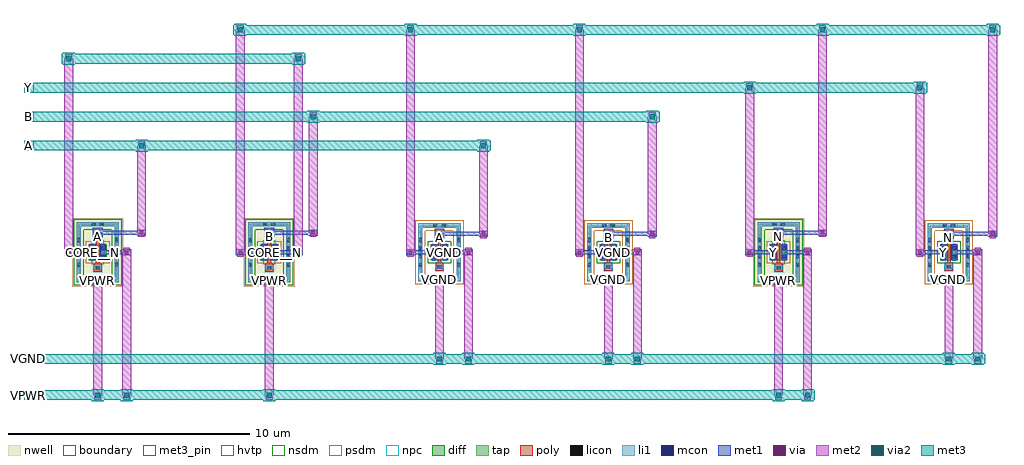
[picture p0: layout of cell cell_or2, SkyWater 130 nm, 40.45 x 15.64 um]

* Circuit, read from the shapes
.subckt cell_or2 A B CORE__N N VGND VPWR Y
XM1 VGND A N VGND sky130_fd_pr__nfet_01v8 w=0.65 l=0.15
XM2 VGND B N VGND sky130_fd_pr__nfet_01v8 w=0.65 l=0.15
XM3 VGND N Y VGND sky130_fd_pr__nfet_01v8 w=0.65 l=0.15
XM4 VPWR A CORE__N VPWR sky130_fd_pr__pfet_01v8_hvt w=0.65 l=0.15
XM5 CORE__N B N VPWR sky130_fd_pr__pfet_01v8_hvt w=0.65 l=0.15
XM6 VPWR N Y VPWR sky130_fd_pr__pfet_01v8_hvt w=0.65 l=0.15
.ends

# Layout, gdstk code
import gdstk
lib = gdstk.Library(unit=1e-6, precision=1e-09)
def R(c, l, rs):  # rectangles x0, y0, x1, y1
    for r in rs: c.add(gdstk.rectangle(r[:2], r[2:], *l))
def A(c, l, x, y, w, h, nx, ny, dx, dy):  # array of equal rectangles
    R(c, l, [(x+i*dx, y+j*dy, x+i*dx+w, y+j*dy+h) for i in range(nx) for j in range(ny)])
nwell = (64, 20)
diff = (65, 20)
tap = (65, 44)
poly = (66, 20)
licon = (66, 44)
li1 = (67, 20)
mcon = (67, 44)
met1 = (68, 20)
via = (68, 44)
met2 = (69, 20)
via2 = (69, 44)
met3_pin = (70, 16)
met3 = (70, 20)
hvtp = (78, 44)
nsdm = (93, 44)
psdm = (94, 20)
npc = (95, 20)
boundary = (235, 4)

cell_or2 = lib.new_cell('cell_or2')
R(cell_or2, nwell, [(0,-1.42,2.11,1.42), (7.11,-1.42,9.22,1.42), (28.22,-1.42,30.33,1.42)])
A(cell_or2, diff, 21.855, -0.325, 0.73, 0.65, 3, 1, 7.055, 0)
R(cell_or2, diff, [(0.69,-0.325,1.42,0.325), (7.8,-0.325,8.53,0.325), (14.855,-0.325,15.585,0.325)])
R(cell_or2, tap, [(0.18,-1.24,1.93,-1.07), (7.29,-1.24,9.04,-1.07), (28.4,-1.24,30.15,-1.07), (14.345,-1.195,16.095,-1.025), (21.345,-1.195,23.095,-1.025), (35.455,-1.195,37.205,-1.025), (0.18,-1.07,0.35,1.07), (1.76,-1.07,1.93,1.07), (7.29,-1.07,7.46,1.07), (8.87,-1.07,9.04,1.07), (28.4,-1.07,28.57,1.07), (29.98,-1.07,30.15,1.07), (14.345,-1.025,14.515,1.025), (15.925,-1.025,16.095,1.025), (21.345,-1.025,21.515,1.025), (22.925,-1.025,23.095,1.025), (35.455,-1.025,35.625,1.025), (37.035,-1.025,37.205,1.025), (14.345,1.025,16.095,1.195), (21.345,1.025,23.095,1.195), (35.455,1.025,37.205,1.195), (0.18,1.07,1.93,1.24), (7.29,1.07,9.04,1.24), (28.4,1.07,30.15,1.24)])
R(cell_or2, poly, [(0.89,-0.81,1.22,-0.48), (8,-0.81,8.33,-0.48), (29.11,-0.81,29.44,-0.48), (15.055,-0.765,15.385,-0.435), (22.055,-0.765,22.385,-0.435), (36.165,-0.765,36.495,-0.435), (0.98,-0.48,1.13,0.48), (8.09,-0.48,8.24,0.48), (29.2,-0.48,29.35,0.48), (15.145,-0.435,15.295,0.435), (22.145,-0.435,22.295,0.435), (36.255,-0.435,36.405,0.435), (15.055,0.435,15.385,0.765), (22.055,0.435,22.385,0.765), (36.165,0.435,36.495,0.765), (0.89,0.48,1.22,0.81), (8,0.48,8.33,0.81), (29.11,0.48,29.44,0.81)])
A(cell_or2, licon, 0.18, -0.595, 0.17, 0.17, 1, 4, 0, 0.34)
A(cell_or2, licon, 1.76, -0.595, 0.17, 0.17, 1, 4, 0, 0.34)
A(cell_or2, licon, 7.29, -0.595, 0.17, 0.17, 1, 4, 0, 0.34)
A(cell_or2, licon, 8.87, -0.595, 0.17, 0.17, 1, 4, 0, 0.34)
A(cell_or2, licon, 14.345, -0.595, 0.17, 0.17, 1, 4, 0, 0.34)
A(cell_or2, licon, 15.925, -0.595, 0.17, 0.17, 1, 4, 0, 0.34)
A(cell_or2, licon, 21.345, -0.595, 0.17, 0.17, 1, 4, 0, 0.34)
A(cell_or2, licon, 22.925, -0.595, 0.17, 0.17, 1, 4, 0, 0.34)
A(cell_or2, licon, 28.4, -0.595, 0.17, 0.17, 1, 4, 0, 0.34)
A(cell_or2, licon, 29.98, -0.595, 0.17, 0.17, 1, 4, 0, 0.34)
A(cell_or2, licon, 35.455, -0.595, 0.17, 0.17, 1, 4, 0, 0.34)
A(cell_or2, licon, 37.035, -0.595, 0.17, 0.17, 1, 4, 0, 0.34)
R(cell_or2, licon, [(0.8,-1.24,0.97,-1.07), (1.14,-1.24,1.31,-1.07), (7.91,-1.24,8.08,-1.07), (8.25,-1.24,8.42,-1.07), (29.02,-1.24,29.19,-1.07), (29.36,-1.24,29.53,-1.07), (14.965,-1.195,15.135,-1.025), (15.305,-1.195,15.475,-1.025), (21.965,-1.195,22.135,-1.025), (22.305,-1.195,22.475,-1.025), (36.075,-1.195,36.245,-1.025), (36.415,-1.195,36.585,-1.025), (0.97,-0.73,1.14,-0.56), (8.08,-0.73,8.25,-0.56), (29.19,-0.73,29.36,-0.56), (15.135,-0.685,15.305,-0.515), (22.135,-0.685,22.305,-0.515), (36.245,-0.685,36.415,-0.515), (0.75,-0.255,0.92,-0.085), (1.19,-0.255,1.36,-0.085), (7.86,-0.255,8.03,-0.085), (8.3,-0.255,8.47,-0.085), (14.915,-0.255,15.085,-0.085), (15.355,-0.255,15.525,-0.085), (21.915,-0.255,22.085,-0.085), (22.355,-0.255,22.525,-0.085), (28.97,-0.255,29.14,-0.085), (29.41,-0.255,29.58,-0.085), (36.025,-0.255,36.195,-0.085), (36.465,-0.255,36.635,-0.085), (0.75,0.085,0.92,0.255), (1.19,0.085,1.36,0.255), (7.86,0.085,8.03,0.255), (8.3,0.085,8.47,0.255), (14.915,0.085,15.085,0.255), (15.355,0.085,15.525,0.255), (21.915,0.085,22.085,0.255), (22.355,0.085,22.525,0.255), (28.97,0.085,29.14,0.255), (29.41,0.085,29.58,0.255), (36.025,0.085,36.195,0.255), (36.465,0.085,36.635,0.255), (15.135,0.515,15.305,0.685), (22.135,0.515,22.305,0.685), (36.245,0.515,36.415,0.685), (0.97,0.56,1.14,0.73), (8.08,0.56,8.25,0.73), (29.19,0.56,29.36,0.73), (14.965,1.025,15.135,1.195), (15.305,1.025,15.475,1.195), (21.965,1.025,22.135,1.195), (22.305,1.025,22.475,1.195), (36.075,1.025,36.245,1.195), (36.415,1.025,36.585,1.195), (0.8,1.07,0.97,1.24), (1.14,1.07,1.31,1.24), (7.91,1.07,8.08,1.24), (8.25,1.07,8.42,1.24), (29.02,1.07,29.19,1.24), (29.36,1.07,29.53,1.24)])
R(cell_or2, li1, [(0.18,-1.24,1.93,-1.07), (7.29,-1.24,9.04,-1.07), (28.4,-1.24,30.15,-1.07), (14.345,-1.195,16.095,-1.025), (21.345,-1.195,23.095,-1.025), (35.455,-1.195,37.205,-1.025), (0.18,-1.07,0.35,1.07), (1.76,-1.07,1.93,1.07), (7.29,-1.07,7.46,1.07), (8.87,-1.07,9.04,1.07), (28.4,-1.07,28.57,1.07), (29.98,-1.07,30.15,1.07), (14.345,-1.025,14.515,1.025), (15.925,-1.025,16.095,1.025), (21.345,-1.025,21.515,1.025), (22.925,-1.025,23.095,1.025), (35.455,-1.025,35.625,1.025), (37.035,-1.025,37.205,1.025), (0.89,-0.73,1.22,-0.56), (8,-0.73,8.33,-0.56), (29.11,-0.73,29.44,-0.56), (15.055,-0.685,15.385,-0.515), (22.055,-0.685,22.385,-0.515), (36.165,-0.685,36.495,-0.515), (0.75,-0.345,0.92,0.345), (1.19,-0.345,1.36,0.345), (7.86,-0.345,8.03,0.345), (8.3,-0.345,8.47,0.345), (14.915,-0.345,15.085,0.345), (15.355,-0.345,15.525,0.345), (21.915,-0.345,22.085,0.345), (22.355,-0.345,22.525,0.345), (28.97,-0.345,29.14,0.345), (29.41,-0.345,29.58,0.345), (36.025,-0.345,36.195,0.345), (36.465,-0.345,36.635,0.345), (15.055,0.515,15.385,0.685), (15.135,0.515,15.305,0.855), (22.055,0.515,22.385,0.685), (22.135,0.515,22.305,0.855), (36.165,0.515,36.495,0.685), (36.245,0.515,36.415,0.855), (0.89,0.56,1.22,0.73), (0.97,0.56,1.14,0.9), (8,0.56,8.33,0.73), (8.08,0.56,8.25,0.9), (29.11,0.56,29.44,0.73), (29.19,0.56,29.36,0.9), (14.345,1.025,16.095,1.195), (21.345,1.025,23.095,1.195), (35.455,1.025,37.205,1.195), (0.18,1.07,1.93,1.24), (7.29,1.07,9.04,1.24), (28.4,1.07,30.15,1.24)])
R(cell_or2, mcon, [(0.97,-1.24,1.14,-1.07), (8.08,-1.24,8.25,-1.07), (29.19,-1.24,29.36,-1.07), (15.135,-1.195,15.305,-1.025), (22.135,-1.195,22.305,-1.025), (36.245,-1.195,36.415,-1.025), (0.75,-0.265,0.92,-0.095), (1.19,-0.265,1.36,-0.095), (7.86,-0.265,8.03,-0.095), (8.3,-0.265,8.47,-0.095), (14.915,-0.265,15.085,-0.095), (15.355,-0.265,15.525,-0.095), (21.915,-0.265,22.085,-0.095), (22.355,-0.265,22.525,-0.095), (28.97,-0.265,29.14,-0.095), (29.41,-0.265,29.58,-0.095), (36.025,-0.265,36.195,-0.095), (36.465,-0.265,36.635,-0.095), (0.75,0.095,0.92,0.265), (1.19,0.095,1.36,0.265), (7.86,0.095,8.03,0.265), (8.3,0.095,8.47,0.265), (14.915,0.095,15.085,0.265), (15.355,0.095,15.525,0.265), (21.915,0.095,22.085,0.265), (22.355,0.095,22.525,0.265), (28.97,0.095,29.14,0.265), (29.41,0.095,29.58,0.265), (36.025,0.095,36.195,0.265), (36.465,0.095,36.635,0.265), (15.135,0.685,15.305,0.855), (22.135,0.685,22.305,0.855), (36.245,0.685,36.415,0.855), (0.97,0.73,1.14,0.9), (8.08,0.73,8.25,0.9), (29.19,0.73,29.36,0.9)])
R(cell_or2, met1, [(0.855,-1.355,1.255,-0.955), (7.965,-1.355,8.365,-0.955), (29.075,-1.355,29.475,-0.955), (15.02,-1.31,15.42,-0.91), (22.02,-1.31,22.42,-0.91), (36.13,-1.31,36.53,-0.91), (0.875,-1.285,1.235,-1.025), (7.985,-1.285,8.345,-1.025), (29.095,-1.285,29.455,-1.025), (15.04,-1.24,15.4,-0.98), (22.04,-1.24,22.4,-0.98), (36.15,-1.24,36.51,-0.98), (0.72,-0.325,0.95,0.325), (1.16,-0.325,1.39,0.325), (7.83,-0.325,8.06,0.325), (8.27,-0.325,8.5,0.325), (14.885,-0.325,15.115,0.325), (15.325,-0.325,15.555,0.325), (21.885,-0.325,22.115,0.325), (22.325,-0.325,22.555,0.325), (28.94,-0.325,29.17,0.325), (29.38,-0.325,29.61,0.325), (35.995,-0.325,36.225,0.325), (36.435,-0.325,36.665,0.325), (-0.325,-0.13,0.035,0.13), (2.075,-0.13,2.435,0.13), (6.785,-0.13,7.145,0.13), (9.185,-0.13,9.545,0.13), (13.84,-0.13,14.2,0.13), (16.24,-0.13,16.6,0.13), (20.84,-0.13,21.2,0.13), (23.24,-0.13,23.6,0.13), (27.895,-0.13,28.255,0.13), (30.295,-0.13,30.655,0.13), (34.95,-0.13,35.31,0.13), (37.35,-0.13,37.71,0.13), (15.02,0.57,15.42,0.97), (22.02,0.57,22.42,0.97), (36.13,0.57,36.53,0.97), (0.855,0.615,1.255,1.015), (7.965,0.615,8.365,1.015), (29.075,0.615,29.475,1.015), (16.86,0.64,17.22,0.9), (23.86,0.64,24.22,0.9), (37.97,0.64,38.33,0.9), (2.695,0.685,3.055,0.945), (9.805,0.685,10.165,0.945), (30.915,0.685,31.275,0.945)])
R(cell_or2, via, [(0.98,-1.23,1.13,-1.08), (8.09,-1.23,8.24,-1.08), (29.2,-1.23,29.35,-1.08), (15.145,-1.185,15.295,-1.035), (22.145,-1.185,22.295,-1.035), (36.255,-1.185,36.405,-1.035), (-0.22,-0.075,-0.07,0.075), (2.18,-0.075,2.33,0.075), (6.89,-0.075,7.04,0.075), (9.29,-0.075,9.44,0.075), (13.945,-0.075,14.095,0.075), (16.345,-0.075,16.495,0.075), (20.945,-0.075,21.095,0.075), (23.345,-0.075,23.495,0.075), (28,-0.075,28.15,0.075), (30.4,-0.075,30.55,0.075), (35.055,-0.075,35.205,0.075), (37.455,-0.075,37.605,0.075), (16.965,0.695,17.115,0.845), (23.965,0.695,24.115,0.845), (38.075,0.695,38.225,0.845), (2.8,0.74,2.95,0.89), (9.91,0.74,10.06,0.89), (31.02,0.74,31.17,0.89)])
R(cell_or2, met2, [(0.915,-6.11,1.195,-5.73), (2.115,-6.11,2.395,-5.73), (8.025,-6.11,8.305,-5.73), (29.135,-6.11,29.415,-5.73), (30.335,-6.11,30.615,-5.73), (15.08,-4.61,15.36,-4.23), (16.28,-4.61,16.56,-4.23), (22.08,-4.61,22.36,-4.23), (23.28,-4.61,23.56,-4.23), (36.19,-4.61,36.47,-4.23), (37.39,-4.61,37.67,-4.23), (0.925,-1.335,1.185,-0.975), (8.035,-1.335,8.295,-0.975), (29.145,-1.335,29.405,-0.975), (15.09,-1.29,15.35,-0.93), (22.09,-1.29,22.35,-0.93), (36.2,-1.29,36.46,-0.93), (-0.275,-0.18,-0.015,0.18), (2.125,-0.18,2.385,0.18), (6.835,-0.18,7.095,0.18), (9.235,-0.18,9.495,0.18), (13.89,-0.18,14.15,0.18), (16.29,-0.18,16.55,0.18), (20.89,-0.18,21.15,0.18), (23.29,-0.18,23.55,0.18), (27.945,-0.18,28.205,0.18), (30.345,-0.18,30.605,0.18), (35,-0.18,35.26,0.18), (37.4,-0.18,37.66,0.18), (16.91,0.59,17.17,0.95), (23.91,0.59,24.17,0.95), (38.02,0.59,38.28,0.95), (2.745,0.635,3.005,0.995), (9.855,0.635,10.115,0.995), (30.965,0.635,31.225,0.995), (2.735,4.23,3.015,4.61), (16.9,4.23,17.18,4.61), (9.845,5.43,10.125,5.81), (23.9,5.43,24.18,5.81), (27.935,6.63,28.215,7.01), (34.99,6.63,35.27,7.01), (-0.285,7.83,-0.005,8.21), (9.225,7.83,9.505,8.21), (6.825,9.03,7.105,9.41), (13.88,9.03,14.16,9.41), (20.88,9.03,21.16,9.41), (30.955,9.03,31.235,9.41), (38.01,9.03,38.29,9.41)])
R(cell_or2, via2, [(0.955,-6.02,1.155,-5.82), (2.155,-6.02,2.355,-5.82), (8.065,-6.02,8.265,-5.82), (29.175,-6.02,29.375,-5.82), (30.375,-6.02,30.575,-5.82), (15.12,-4.52,15.32,-4.32), (16.32,-4.52,16.52,-4.32), (22.12,-4.52,22.32,-4.32), (23.32,-4.52,23.52,-4.32), (36.23,-4.52,36.43,-4.32), (37.43,-4.52,37.63,-4.32), (2.775,4.32,2.975,4.52), (16.94,4.32,17.14,4.52), (9.885,5.52,10.085,5.72), (23.94,5.52,24.14,5.72), (27.975,6.72,28.175,6.92), (35.03,6.72,35.23,6.92), (-0.245,7.92,-0.045,8.12), (9.265,7.92,9.465,8.12), (6.865,9.12,7.065,9.32), (13.92,9.12,14.12,9.32), (20.92,9.12,21.12,9.32), (30.995,9.12,31.195,9.32), (38.05,9.12,38.25,9.32)])
A(cell_or2, met3_pin, -2, 4.22, 0.4, 0.4, 1, 3, 0, 1.2)
R(cell_or2, met3_pin, [(-2,-6.12,-1.6,-5.72), (-2,-4.62,-1.6,-4.22)])
R(cell_or2, met3, [(0.805,-6.17,1.305,-5.67), (2.005,-6.17,2.505,-5.67), (7.915,-6.17,8.415,-5.67), (29.025,-6.17,29.525,-5.67), (30.225,-6.17,30.725,-5.67), (14.97,-4.67,15.47,-4.17), (16.17,-4.67,16.67,-4.17), (21.97,-4.67,22.47,-4.17), (23.17,-4.67,23.67,-4.17), (36.08,-4.67,36.58,-4.17), (37.28,-4.67,37.78,-4.17), (2.625,4.17,3.125,4.67), (16.79,4.17,17.29,4.67), (9.735,5.37,10.235,5.87), (23.79,5.37,24.29,5.87), (27.825,6.57,28.325,7.07), (34.88,6.57,35.38,7.07), (-0.395,7.77,0.105,8.27), (9.115,7.77,9.615,8.27), (6.715,8.97,7.215,9.47), (13.77,8.97,14.27,9.47), (20.77,8.97,21.27,9.47), (30.845,8.97,31.345,9.47), (37.9,8.97,38.4,9.47)])
R(cell_or2, hvtp, [(0.8,-0.505,1.31,0.505), (7.91,-0.505,8.42,0.505), (29.02,-0.505,29.53,0.505)])
R(cell_or2, nsdm, [(0.055,-1.365,2.055,-0.945), (7.165,-1.365,9.165,-0.945), (28.275,-1.365,30.275,-0.945), (0.055,-0.945,0.475,0.945), (1.635,-0.945,2.055,0.945), (7.165,-0.945,7.585,0.945), (8.745,-0.945,9.165,0.945), (28.275,-0.945,28.695,0.945), (29.855,-0.945,30.275,0.945), (14.73,-0.45,15.71,0.45), (21.73,-0.45,22.71,0.45), (35.84,-0.45,36.82,0.45), (0.055,0.945,2.055,1.365), (7.165,0.945,9.165,1.365), (28.275,0.945,30.275,1.365)])
R(cell_or2, psdm, [(14.22,-1.32,16.22,-0.9), (21.22,-1.32,23.22,-0.9), (35.33,-1.32,37.33,-0.9), (14.22,-0.9,14.64,0.9), (15.8,-0.9,16.22,0.9), (21.22,-0.9,21.64,0.9), (22.8,-0.9,23.22,0.9), (35.33,-0.9,35.75,0.9), (36.91,-0.9,37.33,0.9), (0.565,-0.45,1.545,0.45), (7.675,-0.45,8.655,0.45), (28.785,-0.45,29.765,0.45), (14.22,0.9,16.22,1.32), (21.22,0.9,23.22,1.32), (35.33,0.9,37.33,1.32)])
R(cell_or2, npc, [(0.87,-0.83,1.24,-0.46), (7.98,-0.83,8.35,-0.46), (29.09,-0.83,29.46,-0.46), (15.035,-0.785,15.405,-0.415), (22.035,-0.785,22.405,-0.415), (36.145,-0.785,36.515,-0.415), (15.035,0.415,15.405,0.785), (22.035,0.415,22.405,0.785), (36.145,0.415,36.515,0.785), (0.87,0.46,1.24,0.83), (7.98,0.46,8.35,0.83), (29.09,0.46,29.46,0.83)])
R(cell_or2, boundary, [(0.265,-1.155,1.845,1.155), (7.375,-1.155,8.955,1.155), (28.485,-1.155,30.065,1.155), (14.43,-1.11,16.01,1.11), (21.43,-1.11,23.01,1.11), (35.54,-1.11,37.12,1.11)])
cell_or2.add(gdstk.FlexPath([(36.33,-1.11),(36.33,-1.11)], 0.17, ends="flush", simple_path=True, layer=68, datatype=20))  # met1
cell_or2.add(gdstk.FlexPath([(36.55,0),(37.53,0)], 0.17, ends="flush", simple_path=True, layer=68, datatype=20))  # met1
cell_or2.add(gdstk.FlexPath([(36.33,0.77),(38.15,0.77)], 0.17, ends="flush", simple_path=True, layer=68, datatype=20))  # met1
cell_or2.add(gdstk.FlexPath([(36.11,0),(35.13,0)], 0.17, ends="flush", simple_path=True, layer=68, datatype=20))  # met1
cell_or2.add(gdstk.FlexPath([(29.495,0),(30.475,0)], 0.17, ends="flush", simple_path=True, layer=68, datatype=20))  # met1
cell_or2.add(gdstk.FlexPath([(29.275,0.815),(31.095,0.815)], 0.17, ends="flush", simple_path=True, layer=68, datatype=20))  # met1
cell_or2.add(gdstk.FlexPath([(29.055,0),(28.075,0)], 0.17, ends="flush", simple_path=True, layer=68, datatype=20))  # met1
cell_or2.add(gdstk.FlexPath([(22.22,-1.11),(22.22,-1.11)], 0.17, ends="flush", simple_path=True, layer=68, datatype=20))  # met1
cell_or2.add(gdstk.FlexPath([(22.22,0.77),(24.04,0.77)], 0.17, ends="flush", simple_path=True, layer=68, datatype=20))  # met1
cell_or2.add(gdstk.FlexPath([(0.835,0),(-0.145,0)], 0.17, ends="flush", simple_path=True, layer=68, datatype=20))  # met1
cell_or2.add(gdstk.FlexPath([(1.055,0.815),(2.875,0.815)], 0.17, ends="flush", simple_path=True, layer=68, datatype=20))  # met1
cell_or2.add(gdstk.FlexPath([(8.385,0),(9.365,0)], 0.17, ends="flush", simple_path=True, layer=68, datatype=20))  # met1
cell_or2.add(gdstk.FlexPath([(1.275,0),(2.255,0)], 0.17, ends="flush", simple_path=True, layer=68, datatype=20))  # met1
cell_or2.add(gdstk.FlexPath([(1.055,-1.155),(1.055,-1.155)], 0.17, ends="flush", simple_path=True, layer=68, datatype=20))  # met1
cell_or2.add(gdstk.FlexPath([(15.22,-1.11),(15.22,-1.11)], 0.17, ends="flush", simple_path=True, layer=68, datatype=20))  # met1
cell_or2.add(gdstk.FlexPath([(7.945,0),(6.965,0)], 0.17, ends="flush", simple_path=True, layer=68, datatype=20))  # met1
cell_or2.add(gdstk.FlexPath([(15,0),(14.02,0)], 0.17, ends="flush", simple_path=True, layer=68, datatype=20))  # met1
cell_or2.add(gdstk.FlexPath([(8.165,0.815),(9.985,0.815)], 0.17, ends="flush", simple_path=True, layer=68, datatype=20))  # met1
cell_or2.add(gdstk.FlexPath([(8.165,-1.155),(8.165,-1.155)], 0.17, ends="flush", simple_path=True, layer=68, datatype=20))  # met1
cell_or2.add(gdstk.FlexPath([(15.22,0.77),(17.04,0.77)], 0.17, ends="flush", simple_path=True, layer=68, datatype=20))  # met1
cell_or2.add(gdstk.FlexPath([(29.275,-1.155),(29.275,-1.155)], 0.17, ends="flush", simple_path=True, layer=68, datatype=20))  # met1
cell_or2.add(gdstk.FlexPath([(15.44,0),(16.42,0)], 0.17, ends="flush", simple_path=True, layer=68, datatype=20))  # met1
cell_or2.add(gdstk.FlexPath([(22.44,0),(23.42,0)], 0.17, ends="flush", simple_path=True, layer=68, datatype=20))  # met1
cell_or2.add(gdstk.FlexPath([(22,0),(21.02,0)], 0.17, ends="flush", simple_path=True, layer=68, datatype=20))  # met1
cell_or2.add(gdstk.FlexPath([(36.33,-1.11),(36.33,-4.42)], 0.36, ends="flush", simple_path=True, layer=69, datatype=20))  # met2
cell_or2.add(gdstk.FlexPath([(37.53,0),(37.53,-4.42)], 0.36, ends="flush", simple_path=True, layer=69, datatype=20))  # met2
cell_or2.add(gdstk.FlexPath([(38.15,0.77),(38.15,9.22)], 0.36, ends="flush", simple_path=True, layer=69, datatype=20))  # met2
cell_or2.add(gdstk.FlexPath([(29.275,-1.155),(29.275,-5.92)], 0.36, ends="flush", simple_path=True, layer=69, datatype=20))  # met2
cell_or2.add(gdstk.FlexPath([(30.475,0),(30.475,-5.92)], 0.36, ends="flush", simple_path=True, layer=69, datatype=20))  # met2
cell_or2.add(gdstk.FlexPath([(28.075,0),(28.075,6.82)], 0.36, ends="flush", simple_path=True, layer=69, datatype=20))  # met2
cell_or2.add(gdstk.FlexPath([(24.04,0.77),(24.04,5.62)], 0.36, ends="flush", simple_path=True, layer=69, datatype=20))  # met2
cell_or2.add(gdstk.FlexPath([(2.875,0.815),(2.875,4.42)], 0.36, ends="flush", simple_path=True, layer=69, datatype=20))  # met2
cell_or2.add(gdstk.FlexPath([(31.095,0.815),(31.095,9.22)], 0.36, ends="flush", simple_path=True, layer=69, datatype=20))  # met2
cell_or2.add(gdstk.FlexPath([(2.255,0),(2.255,-5.92)], 0.36, ends="flush", simple_path=True, layer=69, datatype=20))  # met2
cell_or2.add(gdstk.FlexPath([(8.165,-1.155),(8.165,-5.92)], 0.36, ends="flush", simple_path=True, layer=69, datatype=20))  # met2
cell_or2.add(gdstk.FlexPath([(23.42,0),(23.42,-4.42)], 0.36, ends="flush", simple_path=True, layer=69, datatype=20))  # met2
cell_or2.add(gdstk.FlexPath([(9.985,0.815),(9.985,5.62)], 0.36, ends="flush", simple_path=True, layer=69, datatype=20))  # met2
cell_or2.add(gdstk.FlexPath([(9.365,0),(9.365,8.02)], 0.36, ends="flush", simple_path=True, layer=69, datatype=20))  # met2
cell_or2.add(gdstk.FlexPath([(22.22,-1.11),(22.22,-4.42)], 0.36, ends="flush", simple_path=True, layer=69, datatype=20))  # met2
cell_or2.add(gdstk.FlexPath([(-0.145,0),(-0.145,8.02)], 0.36, ends="flush", simple_path=True, layer=69, datatype=20))  # met2
cell_or2.add(gdstk.FlexPath([(14.02,0),(14.02,9.22)], 0.36, ends="flush", simple_path=True, layer=69, datatype=20))  # met2
cell_or2.add(gdstk.FlexPath([(17.04,0.77),(17.04,4.42)], 0.36, ends="flush", simple_path=True, layer=69, datatype=20))  # met2
cell_or2.add(gdstk.FlexPath([(16.42,0),(16.42,-4.42)], 0.36, ends="flush", simple_path=True, layer=69, datatype=20))  # met2
cell_or2.add(gdstk.FlexPath([(1.055,-1.155),(1.055,-5.92)], 0.36, ends="flush", simple_path=True, layer=69, datatype=20))  # met2
cell_or2.add(gdstk.FlexPath([(21.02,0),(21.02,9.22)], 0.36, ends="flush", simple_path=True, layer=69, datatype=20))  # met2
cell_or2.add(gdstk.FlexPath([(35.13,0),(35.13,6.82)], 0.36, ends="flush", simple_path=True, layer=69, datatype=20))  # met2
cell_or2.add(gdstk.FlexPath([(6.965,0),(6.965,9.22)], 0.36, ends="flush", simple_path=True, layer=69, datatype=20))  # met2
cell_or2.add(gdstk.FlexPath([(15.22,-1.11),(15.22,-4.42)], 0.36, ends="flush", simple_path=True, layer=69, datatype=20))  # met2
cell_or2.add(gdstk.FlexPath([(-1.8,-5.92),(30.775,-5.92)], 0.4, ends="flush", simple_path=True, layer=70, datatype=20))  # met3
cell_or2.add(gdstk.FlexPath([(-1.8,-4.42),(37.83,-4.42)], 0.4, ends="flush", simple_path=True, layer=70, datatype=20))  # met3
cell_or2.add(gdstk.FlexPath([(6.665,9.22),(38.45,9.22)], 0.4, ends="flush", simple_path=True, layer=70, datatype=20))  # met3
cell_or2.add(gdstk.FlexPath([(-0.445,8.02),(9.665,8.02)], 0.4, ends="flush", simple_path=True, layer=70, datatype=20))  # met3
cell_or2.add(gdstk.FlexPath([(-1.8,6.82),(35.43,6.82)], 0.4, ends="flush", simple_path=True, layer=70, datatype=20))  # met3
cell_or2.add(gdstk.FlexPath([(-1.8,5.62),(24.34,5.62)], 0.4, ends="flush", simple_path=True, layer=70, datatype=20))  # met3
cell_or2.add(gdstk.FlexPath([(-1.8,4.42),(17.34,4.42)], 0.4, ends="flush", simple_path=True, layer=70, datatype=20))  # met3
cell_or2.add(gdstk.Label('N', (36.33,0.6), layer=67, texttype=5))
cell_or2.add(gdstk.Label('Y', (36.11,0), layer=67, texttype=5))
cell_or2.add(gdstk.Label('N', (29.275,0.645), layer=67, texttype=5))
cell_or2.add(gdstk.Label('VGND', (36.33,-1.11), layer=67, texttype=5))
cell_or2.add(gdstk.Label('Y', (29.055,0), layer=67, texttype=5))
cell_or2.add(gdstk.Label('VGND', (22.44,0), layer=67, texttype=5))
cell_or2.add(gdstk.Label('VPWR', (1.055,-1.155), layer=67, texttype=5))
cell_or2.add(gdstk.Label('CORE__N', (0.835,0), layer=67, texttype=5))
cell_or2.add(gdstk.Label('B', (22.22,0.6), layer=67, texttype=5))
cell_or2.add(gdstk.Label('VGND', (22.22,-1.11), layer=67, texttype=5))
cell_or2.add(gdstk.Label('B', (8.165,0.645), layer=67, texttype=5))
cell_or2.add(gdstk.Label('A', (1.055,0.645), layer=67, texttype=5))
cell_or2.add(gdstk.Label('VPWR', (29.275,-1.155), layer=67, texttype=5))
cell_or2.add(gdstk.Label('VPWR', (8.165,-1.155), layer=67, texttype=5))
cell_or2.add(gdstk.Label('VGND', (36.55,0), layer=67, texttype=5))
cell_or2.add(gdstk.Label('CORE__N', (8.385,0), layer=67, texttype=5))
cell_or2.add(gdstk.Label('VGND', (15.22,-1.11), layer=67, texttype=5))
cell_or2.add(gdstk.Label('VPWR', (29.495,0), layer=67, texttype=5))
cell_or2.add(gdstk.Label('N', (22,0), layer=67, texttype=5))
cell_or2.add(gdstk.Label('VPWR', (1.275,0), layer=67, texttype=5))
cell_or2.add(gdstk.Label('VGND', (15.44,0), layer=67, texttype=5))
cell_or2.add(gdstk.Label('N', (7.945,0), layer=67, texttype=5))
cell_or2.add(gdstk.Label('N', (15,0), layer=67, texttype=5))
cell_or2.add(gdstk.Label('A', (15.22,0.6), layer=67, texttype=5))
cell_or2.add(gdstk.Label('VPWR', (-1.8,-5.92), layer=70, texttype=5))
cell_or2.add(gdstk.Label('VGND', (-1.8,-4.42), layer=70, texttype=5))
cell_or2.add(gdstk.Label('Y', (-1.8,6.82), layer=70, texttype=5))
cell_or2.add(gdstk.Label('B', (-1.8,5.62), layer=70, texttype=5))
cell_or2.add(gdstk.Label('A', (-1.8,4.42), layer=70, texttype=5))

lib.write_gds('cell_or2.gds')
